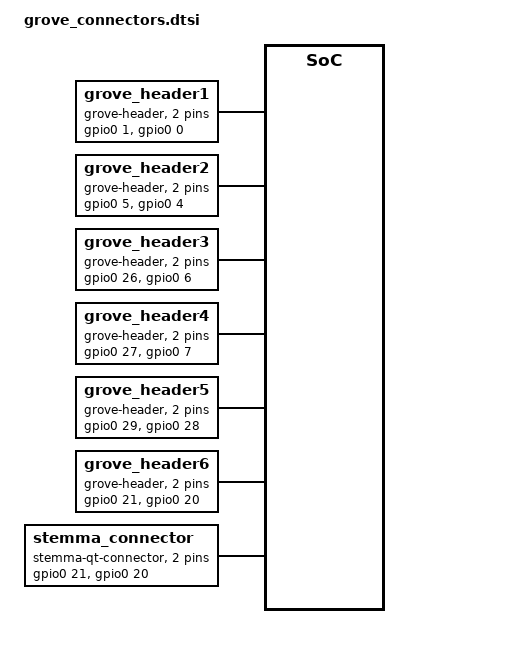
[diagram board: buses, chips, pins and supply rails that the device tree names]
/*
 * Copyright (c) 2026 Jonas Berg
 *
 * SPDX-License-Identifier: Apache-2.0
 */

/ {
	grove_header1: grove_header1 {
		compatible = "grove-header";
		#gpio-cells = <2>;
		gpio-map-mask = <0xffffffff 0xffffffc0>;
		gpio-map-pass-thru = <0 0x3f>;
		gpio-map = <0 0 &gpio0 1 0>, /* RX */
			   <1 0 &gpio0 0 0>; /* TX */
	};

	grove_header2: grove_header2 {
		compatible = "grove-header";
		#gpio-cells = <2>;
		gpio-map-mask = <0xffffffff 0xffffffc0>;
		gpio-map-pass-thru = <0 0x3f>;
		gpio-map = <0 0 &gpio0 5 0>,
			   <1 0 &gpio0 4 0>;
	};

	grove_header3: grove_header3 {
		compatible = "grove-header";
		#gpio-cells = <2>;
		gpio-map-mask = <0xffffffff 0xffffffc0>;
		gpio-map-pass-thru = <0 0x3f>;
		gpio-map = <0 0 &gpio0 26 0>, /* ADC0 */
			   <1 0 &gpio0 6 0>;
	};

	grove_header4: grove_header4 {
		compatible = "grove-header";
		#gpio-cells = <2>;
		gpio-map-mask = <0xffffffff 0xffffffc0>;
		gpio-map-pass-thru = <0 0x3f>;
		gpio-map = <0 0 &gpio0 27 0>, /* ADC1 */
			   <1 0 &gpio0 7 0>;
	};

	grove_header5: grove_header5 {
		compatible = "grove-header";
		#gpio-cells = <2>;
		gpio-map-mask = <0xffffffff 0xffffffc0>;
		gpio-map-pass-thru = <0 0x3f>;
		gpio-map = <0 0 &gpio0 29 0>, /* ADC3 */
			   <1 0 &gpio0 28 0>; /* ADC2 */
	};

	grove_header6: grove_header6 {
		compatible = "grove-header";
		#gpio-cells = <2>;
		gpio-map-mask = <0xffffffff 0xffffffc0>;
		gpio-map-pass-thru = <0 0x3f>;
		gpio-map = <0 0 &gpio0 21 0>, /* SCL */
			   <1 0 &gpio0 20 0>; /* SDA */
	};

	stemma_connector: stemma_connector {
		compatible = "stemma-qt-connector";
		#gpio-cells = <2>;
		gpio-map-mask = <0xffffffff 0xffffffc0>;
		gpio-map-pass-thru = <0 0x3f>;
		gpio-map = <0 0 &gpio0 21 0>, /* SCL */
			   <1 0 &gpio0 20 0>; /* SDA */
	};
};
